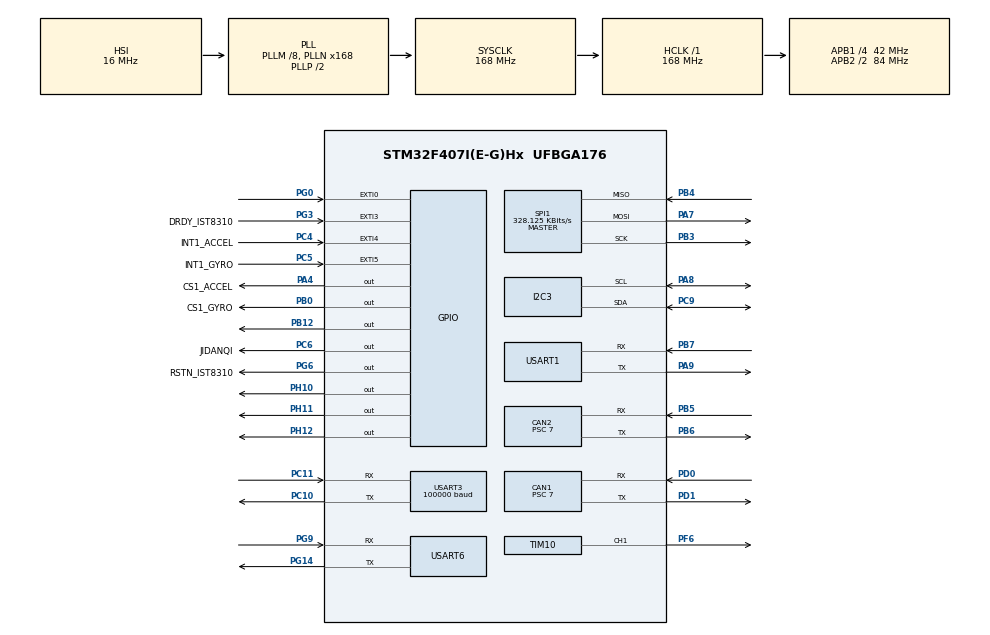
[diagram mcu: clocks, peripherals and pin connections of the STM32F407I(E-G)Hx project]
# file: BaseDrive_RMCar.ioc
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CAN1.BS1=CAN_BS1_2TQ
CAN1.BS2=CAN_BS2_3TQ
CAN1.CalculateBaudRate=999999
CAN1.CalculateTimeBit=1000
CAN1.CalculateTimeQuantum=166.66666666666669
CAN1.Prescaler=7
CAN2.BS1=CAN_BS1_2TQ
CAN2.BS2=CAN_BS2_3TQ
CAN2.CalculateBaudRate=999999
CAN2.CalculateTimeBit=1000
CAN2.CalculateTimeQuantum=166.66666666666669
CAN2.Prescaler=7
Dma.Request0=USART3_RX
Dma.Request1=SPI1_RX
Dma.Request2=SPI1_TX
Dma.Request3=USART1_RX
Dma.SPI1_RX.1.Direction=DMA_PERIPH_TO_MEMORY
Dma.SPI1_RX.1.FIFOMode=DMA_FIFOMODE_DISABLE
Dma.SPI1_RX.1.Instance=DMA2_Stream2
Dma.SPI1_RX.1.MemDataAlignment=DMA_MDATAALIGN_BYTE
Dma.SPI1_RX.1.MemInc=DMA_MINC_ENABLE
Dma.SPI1_RX.1.Mode=DMA_NORMAL
Dma.SPI1_RX.1.PeriphDataAlignment=DMA_PDATAALIGN_BYTE
Dma.SPI1_RX.1.PeriphInc=DMA_PINC_DISABLE
Dma.SPI1_RX.1.Priority=DMA_PRIORITY_VERY_HIGH
Dma.SPI1_TX.2.Direction=DMA_MEMORY_TO_PERIPH
Dma.SPI1_TX.2.FIFOMode=DMA_FIFOMODE_DISABLE
Dma.SPI1_TX.2.Instance=DMA2_Stream3
Dma.SPI1_TX.2.MemDataAlignment=DMA_MDATAALIGN_BYTE
Dma.SPI1_TX.2.MemInc=DMA_MINC_ENABLE
Dma.SPI1_TX.2.Mode=DMA_NORMAL
Dma.SPI1_TX.2.PeriphDataAlignment=DMA_PDATAALIGN_BYTE
Dma.SPI1_TX.2.PeriphInc=DMA_PINC_DISABLE
Dma.SPI1_TX.2.Priority=DMA_PRIORITY_HIGH
Dma.USART1_RX.3.Direction=DMA_PERIPH_TO_MEMORY
Dma.USART1_RX.3.FIFOMode=DMA_FIFOMODE_DISABLE
Dma.USART1_RX.3.Instance=DMA2_Stream5
Dma.USART1_RX.3.MemDataAlignment=DMA_MDATAALIGN_BYTE
Dma.USART1_RX.3.MemInc=DMA_MINC_ENABLE
Dma.USART1_RX.3.Mode=DMA_CIRCULAR
Dma.USART1_RX.3.PeriphDataAlignment=DMA_PDATAALIGN_BYTE
Dma.USART1_RX.3.PeriphInc=DMA_PINC_DISABLE
Dma.USART1_RX.3.Priority=DMA_PRIORITY_MEDIUM
Dma.USART3_RX.0.Direction=DMA_PERIPH_TO_MEMORY
Dma.USART3_RX.0.FIFOMode=DMA_FIFOMODE_DISABLE
Dma.USART3_RX.0.Instance=DMA1_Stream1
Dma.USART3_RX.0.MemDataAlignment=DMA_MDATAALIGN_BYTE
Dma.USART3_RX.0.MemInc=DMA_MINC_ENABLE
Dma.USART3_RX.0.Mode=DMA_CIRCULAR
Dma.USART3_RX.0.PeriphDataAlignment=DMA_PDATAALIGN_BYTE
Dma.USART3_RX.0.PeriphInc=DMA_PINC_DISABLE
Dma.USART3_RX.0.Priority=DMA_PRIORITY_VERY_HIGH
FREERTOS.INCLUDE_pcTaskGetTaskName=1
FREERTOS.INCLUDE_uxTaskGetStackHighWaterMark2=1
FREERTOS.INCLUDE_vTaskCleanUpResources=1
FREERTOS.INCLUDE_xEventGroupSetBitFromISR=1
FREERTOS.INCLUDE_xSemaphoreGetMutexHolder=1
FREERTOS.INCLUDE_xTaskAbortDelay=1
FREERTOS.INCLUDE_xTaskGetHandle=1
FREERTOS.Tasks01=defaultTask,24,128,StartDefaultTask,Default,NULL,Dynamic,NULL,NULL;LEDLightTask,8,128,StartTask02,Default,NULL,Dynamic,NULL,NULL;imuTask,48,256,INS_task,Default,NULL,Dynamic,NULL,NULL
I2C3.I2C_Mode=I2C_Fast
Mcu.Family=STM32F4
Mcu.Name=STM32F407I(E-G)Hx
Mcu.Package=UFBGA176
NVIC.CAN1_RX0_IRQn=true\:5\:0\:false\:false\:true\:true\:true\:true\:true
NVIC.CAN1_RX1_IRQn=true\:5\:0\:false\:false\:true\:true\:true\:true\:true
NVIC.CAN2_RX0_IRQn=true\:5\:0\:false\:false\:true\:true\:true\:true\:true
NVIC.CAN2_RX1_IRQn=true\:5\:0\:false\:false\:true\:true\:true\:true\:true
NVIC.DMA1_Stream1_IRQn=true\:5\:0\:false\:false\:true\:true\:false\:true\:true
NVIC.DMA2_Stream2_IRQn=true\:5\:0\:false\:false\:true\:false\:false\:true\:true
NVIC.DMA2_Stream3_IRQn=true\:5\:0\:false\:false\:false\:true\:false\:true\:true
NVIC.DMA2_Stream5_IRQn=true\:5\:0\:false\:false\:true\:true\:false\:true\:true
NVIC.EXTI0_IRQn=true\:5\:0\:false\:false\:true\:true\:true\:true\:true
NVIC.EXTI3_IRQn=true\:5\:0\:false\:false\:true\:true\:true\:true\:true
NVIC.EXTI4_IRQn=true\:5\:0\:false\:false\:true\:true\:true\:true\:true
NVIC.EXTI9_5_IRQn=true\:5\:0\:false\:false\:true\:true\:true\:true\:true
NVIC.PriorityGroup=NVIC_PRIORITYGROUP_4
NVIC.TIM5_IRQn=true\:15\:0\:false\:false\:true\:false\:false\:true\:true
NVIC.TIM6_DAC_IRQn=true\:5\:0\:false\:false\:true\:true\:true\:true\:true
NVIC.TimeBase=TIM5_IRQn
NVIC.TimeBaseIP=TIM5
NVIC.USART1_IRQn=true\:5\:0\:false\:false\:true\:true\:true\:true\:true
NVIC.USART3_IRQn=true\:5\:0\:false\:false\:true\:true\:true\:true\:true
PA13.Mode=Serial_Wire
PA13.Signal=SYS_JTMS-SWDIO
PA14.Mode=Serial_Wire
PA14.Signal=SYS_JTCK-SWCLK
PA4.GPIO_Label=CS1_ACCEL
PA4.GPIO_PuPd=GPIO_PULLUP
PA4.GPIO_Speed=GPIO_SPEED_FREQ_HIGH
PA4.PinState=GPIO_PIN_SET
PA4.Signal=GPIO_Output
PA7.Mode=Full_Duplex_Master
PA7.Signal=SPI1_MOSI
PA8.Mode=I2C
PA8.Signal=I2C3_SCL
PA9.Mode=Asynchronous
PA9.Signal=USART1_TX
PB0.GPIO_Label=CS1_GYRO
PB0.GPIO_PuPd=GPIO_PULLUP
PB0.GPIO_Speed=GPIO_SPEED_FREQ_HIGH
PB0.PinState=GPIO_PIN_SET
PB0.Signal=GPIO_Output
PB12.Signal=GPIO_Output
PB3.Mode=Full_Duplex_Master
PB3.Signal=SPI1_SCK
PB4.Mode=Full_Duplex_Master
PB4.Signal=SPI1_MISO
PB5.Mode=CAN_Activate
PB5.Signal=CAN2_RX
PB6.Mode=CAN_Activate
PB6.Signal=CAN2_TX
PB7.Mode=Asynchronous
PB7.Signal=USART1_RX
PC10.Mode=Asynchronous
PC10.Signal=USART3_TX
PC11.Mode=Asynchronous
PC11.Signal=USART3_RX
PC4.GPIO_Label=INT1_ACCEL
PC4.GPIO_ModeDefaultEXTI=GPIO_MODE_IT_FALLING
PC4.GPIO_PuPd=GPIO_PULLUP
PC4.Signal=GPXTI4
PC5.GPIO_Label=INT1_GYRO
PC5.GPIO_ModeDefaultEXTI=GPIO_MODE_IT_FALLING
PC5.GPIO_PuPd=GPIO_PULLUP
PC5.Signal=GPXTI5
PC6.GPIO_Label=JIDANQI
PC6.GPIO_ModeDefaultOutputPP=GPIO_MODE_OUTPUT_PP
PC6.GPIO_PuPd=GPIO_NOPULL
PC6.PinState=GPIO_PIN_RESET
PC6.Signal=GPIO_Output
PC9.Mode=I2C
PC9.Signal=I2C3_SDA
PD0.Mode=CAN_Activate
PD0.Signal=CAN1_RX
PD1.Mode=CAN_Activate
PD1.Signal=CAN1_TX
PF6.Signal=S_TIM10_CH1
PG0.GPIO_ModeDefaultEXTI=GPIO_MODE_IT_FALLING
PG0.GPIO_PuPd=GPIO_PULLUP
PG0.Signal=GPXTI0
PG14.Mode=Asynchronous
PG14.Signal=USART6_TX
PG3.GPIO_Label=DRDY_IST8310
PG3.GPIO_ModeDefaultEXTI=GPIO_MODE_IT_FALLING
PG3.GPIO_PuPd=GPIO_PULLUP
PG3.Signal=GPXTI3
PG6.GPIO_Label=RSTN_IST8310
PG6.GPIO_PuPd=GPIO_PULLUP
PG6.GPIO_Speed=GPIO_SPEED_FREQ_MEDIUM
PG6.PinState=GPIO_PIN_SET
PG6.Signal=GPIO_Output
PG9.Mode=Asynchronous
PG9.Signal=USART6_RX
PH0-OSC_IN.Mode=HSE-External-Oscillator
PH0-OSC_IN.Signal=RCC_OSC_IN
PH1-OSC_OUT.Mode=HSE-External-Oscillator
PH1-OSC_OUT.Signal=RCC_OSC_OUT
PH10.Signal=GPIO_Output
PH11.Signal=GPIO_Output
PH12.Signal=GPIO_Output
ProjectManager.HeapSize=0x200
ProjectManager.StackSize=0x400
ProjectManager.TargetToolchain=MDK-ARM V5.32
RCC.48MHZClocksFreq_Value=84000000
RCC.AHBFreq_Value=168000000
RCC.APB1CLKDivider=RCC_HCLK_DIV4
RCC.APB1Freq_Value=42000000
RCC.APB1TimFreq_Value=84000000
RCC.APB2CLKDivider=RCC_HCLK_DIV2
RCC.APB2Freq_Value=84000000
RCC.APB2TimFreq_Value=168000000
RCC.CortexFreq_Value=168000000
RCC.HCLKFreq_Value=168000000
RCC.HSE_VALUE=25000000
RCC.HSI_VALUE=16000000
RCC.LSE_VALUE=32768
RCC.PLLM=8
RCC.PLLN=168
RCC.SYSCLKFreq_VALUE=168000000
RCC.SYSCLKSource=RCC_SYSCLKSOURCE_PLLCLK
RCC.VCOOutputFreq_Value=336000000
SH.S_TIM10_CH1.0=TIM10_CH1,PWM Generation1 CH1
SPI1.BaudRatePrescaler=SPI_BAUDRATEPRESCALER_256
SPI1.CLKPhase=SPI_PHASE_2EDGE
SPI1.CLKPolarity=SPI_POLARITY_HIGH
SPI1.CalculateBaudRate=328.125 KBits/s
SPI1.Direction=SPI_DIRECTION_2LINES
SPI1.Mode=SPI_MODE_MASTER
SPI1.VirtualType=VM_MASTER
TIM10.Channel=TIM_CHANNEL_1
TIM10.Period=4999
TIM6.AutoReloadPreload=TIM_AUTORELOAD_PRELOAD_ENABLE
TIM6.Period=999
TIM6.Prescaler=83
USART1.VirtualMode=VM_ASYNC
USART3.BaudRate=100000
USART3.Parity=PARITY_EVEN
USART3.VirtualMode=VM_ASYNC
USART3.WordLength=WORDLENGTH_9B
USART6.VirtualMode=VM_ASYNC
VP_FREERTOS_VS_CMSIS_V2.Mode=CMSIS_V2
VP_SYS_VS_tim5.Mode=TIM5
VP_TIM10_VS_ClockSourceINT.Mode=Enable_Timer
VP_TIM6_VS_ClockSourceINT.Mode=Enable_Timer
board=custom

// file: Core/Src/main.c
/* USER CODE BEGIN Header */
/**
  ******************************************************************************
  * @file           : main.c
  * @brief          : Main program body
  ******************************************************************************
  * @attention
  *
  * Copyright (c) 2025 STMicroelectronics.
  * All rights reserved.
  *
  * This software is licensed under terms that can be found in the LICENSE file
  * in the root directory of this software component.
  * If no LICENSE file comes with this software, it is provided AS-IS.
  *
  ******************************************************************************
  */
/* USER CODE END Header */
#include "main.h"
#include "cmsis_os.h"
#include "can.h"
#include "dma.h"
#include "i2c.h"
#include "spi.h"
#include "tim.h"
#include "usart.h"
#include "gpio.h"

/* USER CODE BEGIN Includes */

#include "Remote_Control.h"
#include "Motors.h"
#include "bsp_can.h"
#include "remote_control.h"
#include "bsp_delay.h"
#include "Time.h"
#include "UART_CallBack.h"
#include "ReSet_ToInit.h"
#include "Friction_Wheel_Shooting.h"

extern RC_Ctl_t RC_Ctl;

typedef void (*TIM6_CallbackType)(void);
static TIM6_CallbackType s_tim6Callback = NULL;

/* USER CODE END Includes */

void SystemClock_Config(void);
void MX_FREERTOS_Init(void);

/* USER CODE BEGIN 0 */

void TIM6_SetCallback(TIM6_CallbackType callback) {
    s_tim6Callback = callback;
}

/* USER CODE END 0 */

int main(void)
{

  /* MCU Configuration--------------------------------------------------------*/

  /* Reset of all peripherals, Initializes the Flash interface and the Systick. */
  HAL_Init();

  /* Configure the system clock */
  SystemClock_Config();

  /* Initialize all configured peripherals */
  MX_GPIO_Init();
  MX_DMA_Init();
  MX_CAN1_Init();
  MX_CAN2_Init();
  MX_USART1_UART_Init();
  MX_USART6_UART_Init();
  MX_USART3_UART_Init();
  MX_I2C3_Init();
  MX_SPI1_Init();
  MX_TIM10_Init();
  MX_TIM6_Init();
  /* USER CODE BEGIN 2 */

  UserInit();

  //can_filter_init();
  CAN_cmd_chassis(0.0f,0.0f,0.0f,0.0f);
  delay_init();
  HAL_TIM_Base_Start_IT(&htim6);
  TIM6_SetCallback(MyTIM6Callback);
  MyUART_Init();

  /* USER CODE END 2 */

  /* Init scheduler */
  osKernelInitialize();

  /* Call init function for freertos objects (in cmsis_os2.c) */
  MX_FREERTOS_Init();

  /* Start scheduler */
  osKernelStart();

  /* We should never get here as control is now taken by the scheduler */

  /* Infinite loop */
  /* USER CODE BEGIN WHILE */

  //HAL_GPIO_TogglePin(GPIOC,GPIO_PIN_7);

  while (1)
  {
    /* USER CODE END WHILE */

  }
}

void SystemClock_Config(void)
{
  RCC_OscInitTypeDef RCC_OscInitStruct = {0};
  RCC_ClkInitTypeDef RCC_ClkInitStruct = {0};

  /** Configure the main internal regulator output voltage
  */
  __HAL_RCC_PWR_CLK_ENABLE();
  __HAL_PWR_VOLTAGESCALING_CONFIG(PWR_REGULATOR_VOLTAGE_SCALE1);

  /** Initializes the RCC Oscillators according to the specified parameters
  * in the RCC_OscInitTypeDef structure.
  */
  RCC_OscInitStruct.OscillatorType = RCC_OSCILLATORTYPE_HSI;
  RCC_OscInitStruct.HSIState = RCC_HSI_ON;
  RCC_OscInitStruct.HSICalibrationValue = RCC_HSICALIBRATION_DEFAULT;
  RCC_OscInitStruct.PLL.PLLState = RCC_PLL_ON;
  RCC_OscInitStruct.PLL.PLLSource = RCC_PLLSOURCE_HSI;
  RCC_OscInitStruct.PLL.PLLM = 8;
  RCC_OscInitStruct.PLL.PLLN = 168;
  RCC_OscInitStruct.PLL.PLLP = RCC_PLLP_DIV2;
  RCC_OscInitStruct.PLL.PLLQ = 4;
  if (HAL_RCC_OscConfig(&RCC_OscInitStruct) != HAL_OK)
  {
    Error_Handler();
  }

  /** Initializes the CPU, AHB and APB buses clocks
  */
  RCC_ClkInitStruct.ClockType = RCC_CLOCKTYPE_HCLK|RCC_CLOCKTYPE_SYSCLK
                              |RCC_CLOCKTYPE_PCLK1|RCC_CLOCKTYPE_PCLK2;
  RCC_ClkInitStruct.SYSCLKSource = RCC_SYSCLKSOURCE_PLLCLK;
  RCC_ClkInitStruct.AHBCLKDivider = RCC_SYSCLK_DIV1;
  RCC_ClkInitStruct.APB1CLKDivider = RCC_HCLK_DIV4;
  RCC_ClkInitStruct.APB2CLKDivider = RCC_HCLK_DIV2;

  if (HAL_RCC_ClockConfig(&RCC_ClkInitStruct, FLASH_LATENCY_5) != HAL_OK)
  {
    Error_Handler();
  }
}

void HAL_TIM_PeriodElapsedCallback(TIM_HandleTypeDef *htim)
{
  /* USER CODE BEGIN Callback 0 */
    if (htim->Instance == TIM6) {
        s_tim6Callback();
    }
  /* USER CODE END Callback 0 */
  if (htim->Instance == TIM5)
  {
    HAL_IncTick();
  }
}

void Error_Handler(void)
{
  __disable_irq();
  while (1)
  {
  }
}

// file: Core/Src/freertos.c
/* USER CODE BEGIN Header */
/**
  ******************************************************************************
  * File Name          : freertos.c
  * Description        : Code for freertos applications
  ******************************************************************************
  * @attention
  *
  * Copyright (c) 2025 STMicroelectronics.
  * All rights reserved.
  *
  * This software is licensed under terms that can be found in the LICENSE file
  * in the root directory of this software component.
  * If no LICENSE file comes with this software, it is provided AS-IS.
  *
  ******************************************************************************
  */
/* USER CODE END Header */

#include "FreeRTOS.h"
#include "task.h"
#include "main.h"
#include "cmsis_os.h"

/* USER CODE BEGIN Includes */

#include "stdio.h"
#include "Remote_Control.h"
#include "Motors.h"
#include "bsp_can.h"
#include "INS_task.h"
#include "Dual_board_Transmit.h"
#include "PID.h"
#include "ReSet_ToInit.h"
#include "INS_task.h"
#include "Gimbal_Move.h"

/* USER CODE END Includes */

/* USER CODE BEGIN PTD */

//extern RC_Ctl_t RC_Ctl;
//extern motor_measure_t motor_chassis[7];
//extern PID_HandleTypeDef GimbalPID_Yaw_Angle;
//extern PID_HandleTypeDef GimbalPID_Yaw_Speed;
//extern PID_HandleTypeDef GimbalPID_Pitch_Motor;
//extern PID_HandleTypeDef GimbalPID_Shoot_Motor;
//
//extern float RxInitYawFlag;
//extern float InitYawFlag;
//
//extern float IMU_Yaw;
//float InitFlag = 0;
//extern float RxInitYawFlag;

/* USER CODE END PTD */

/* USER CODE BEGIN PM */

//uint8_t num = 0;
//uint8_t EnterFlag = 0;
//void Get_Rate(void)
//{
//	if(EnterFlag == 0)
//	{
//		if((motor_chassis[6].Degree_Angle <= 360.0f && motor_chassis[6].Degree_Angle >= 350.0f))
//		{
//			EnterFlag = 1;
//			num = num + 1;
//		}
//
//	}
//	else if(EnterFlag == 1)
//	{
//		if((motor_chassis[6].Degree_Angle <= 250.0f && motor_chassis[6].Degree_Angle >= 200.0f))
//		{
//			EnterFlag = 0;
//		}
//	}
//}

/* USER CODE END PM */

/* Definitions for defaultTask */
osThreadId_t defaultTaskHandle;
const osThreadAttr_t defaultTask_attributes = {
  .name = "defaultTask",
  .stack_size = 128 * 4,
  .priority = (osPriority_t) osPriorityNormal,
};
/* Definitions for LEDLightTask */
osThreadId_t LEDLightTaskHandle;
const osThreadAttr_t LEDLightTask_attributes = {
  .name = "LEDLightTask",
  .stack_size = 128 * 4,
  .priority = (osPriority_t) osPriorityLow,
};
/* Definitions for imuTask */
osThreadId_t imuTaskHandle;
const osThreadAttr_t imuTask_attributes = {
  .name = "imuTask",
  .stack_size = 256 * 4,
  .priority = (osPriority_t) osPriorityRealtime,
};

/* USER CODE BEGIN FunctionPrototypes */

///* Definitions for imuTask */
//osThreadId_t imuTaskHandle;
//const osThreadAttr_t imuTask_attributes = {
//  .name = "imuTask",
//  .stack_size = 256 * 4,
//  .priority = (osPriority_t) osPriorityRealtime1,
//};

/* USER CODE END FunctionPrototypes */

void StartDefaultTask(void *argument);
void StartTask02(void *argument);

void MX_FREERTOS_Init(void); /* (MISRA C 2004 rule 8.1) */

void MX_FREERTOS_Init(void) {

  /* Create the thread(s) */
  /* creation of defaultTask */
  defaultTaskHandle = osThreadNew(StartDefaultTask, NULL, &defaultTask_attributes);

  /* creation of LEDLightTask */
  LEDLightTaskHandle = osThreadNew(StartTask02, NULL, &LEDLightTask_attributes);

  /* creation of imuTask */
  imuTaskHandle = osThreadNew(INS_task, NULL, &imuTask_attributes);

  /* USER CODE BEGIN RTOS_THREADS */
  /* add threads, ... */
    //imuTaskHandle = osThreadNew(INS_task, NULL, &imuTask_attributes);

  /* USER CODE END RTOS_THREADS */

}

/* USER CODE BEGIN Header_StartDefaultTask */
/**
  * @brief  Function implementing the defaultTask thread.
  * @param  argument: Not used
  * @retval None
  */
float TempTest;
//extern double get_accumulated_angle(double current_angle);
/* USER CODE END Header_StartDefaultTask */
void StartDefaultTask(void *argument)
{
  /* USER CODE BEGIN StartDefaultTask */
  /* Infinite loop */
	ReSet_LEDTip();
  for(;;)
  {

	  GetIMU_Value();
	  GetReSetFlag();
	  ReSet_ToInit();

	 //printf("%f,%f,%f,%f,%f,%f\n",GimbalPID_Pitch_Motor.Target,GimbalPID_Pitch_Motor.Current,GimbalPID_Pitch_Motor.Output,GimbalPID_Pitch_Motor.Kp,GimbalPID_Pitch_Motor.Ki,GimbalPID_Pitch_Motor.Kd);
	 //printf("%f,%f,%f,%f,%f,%f\n",GimbalPID_Yaw_Motor.Target,GimbalPID_Yaw_Motor.Current,GimbalPID_Yaw_Motor.Output,GimbalPID_Yaw_Motor.Kp,GimbalPID_Yaw_Motor.Ki,GimbalPID_Yaw_Motor.Kd);
	 //printf("%f,%f,%f,%f,%f,%f\n",ChassisPID_Motor.Target,Speed,ChassisPID_Motor.Output,ChassisPID_Motor.Kp,ChassisPID_Motor.Ki,ChassisPID_Motor.Kd);
	 //printf("%f,%f,%f,%f,%f,%f,%f,%f,%f,%f,%f,%f\n",GimbalPID_Yaw_Angle.Target,GimbalPID_Yaw_Angle.Current,GimbalPID_Yaw_Angle.Output,GimbalPID_Yaw_Angle.Kp,GimbalPID_Yaw_Angle.Ki,GimbalPID_Yaw_Angle.Kd,GimbalPID_Yaw_Speed.Target,GimbalPID_Yaw_Speed.Current,GimbalPID_Yaw_Speed.Output,GimbalPID_Yaw_Speed.Kp,GimbalPID_Yaw_Speed.Ki,GimbalPID_Yaw_Speed.Kd);
	  osDelay(1);
  }
  /* USER CODE END StartDefaultTask */
}

void StartTask02(void *argument)
{
  for(;;)
  {
    osDelay(1);
  }
}
